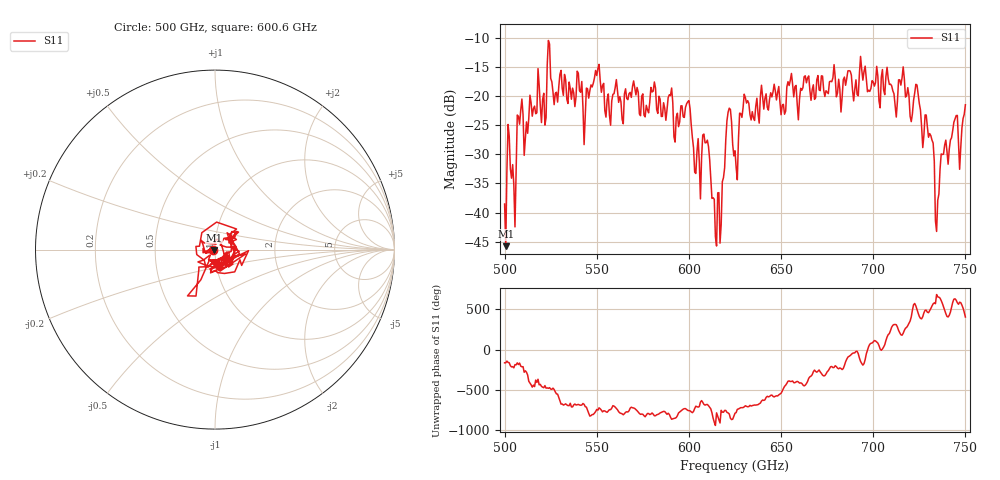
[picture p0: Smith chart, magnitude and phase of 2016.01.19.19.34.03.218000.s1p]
!Created with skrf (http://scikit-rf.org).
# GHz S RI R 50.0
!freq ReS11 ImS11
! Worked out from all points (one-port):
!   401 points, 500 GHz to 750 GHz, reference 50 ohm
!   lowest |S11| = -45.8 dB at 500.6 GHz (marker M1), VSWR 1.01, Z = 49.5 - j0.139 ohm
!   |S11| at or under -10 dB: start of sweep to end of sweep
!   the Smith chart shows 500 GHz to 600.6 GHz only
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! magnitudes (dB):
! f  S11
! 500 GHz  -38.5
! 500.6 GHz  -45.8
! 503.1 GHz  -32.5
! 505 GHz  -35.3
! 508.1 GHz  -24.8
! 521.2 GHz  -19.5
! 524.4 GHz  -11.1
! 527.5 GHz  -19.5
! 531.2 GHz  -18.7
! 562.5 GHz  -20.1
! 580.6 GHz  -19.2
! 593.8 GHz  -23.0
! 599.4 GHz  -21.0
! 605 GHz  -27.3
! 609.4 GHz  -28.0
! 615.6 GHz  -36.6
! 621.2 GHz  -22.8
! 625 GHz  -29.4
! 630.6 GHz  -20.3
! 656.2 GHz  -18.0
! 687.5 GHz  -15.7
! 718.8 GHz  -18.6
! 729.4 GHz  -25.3
! 735 GHz  -37.9
! 738.1 GHz  -30.0
! 744.4 GHz  -23.9
! 747.5 GHz  -28.7
! 750 GHz  -21.5
